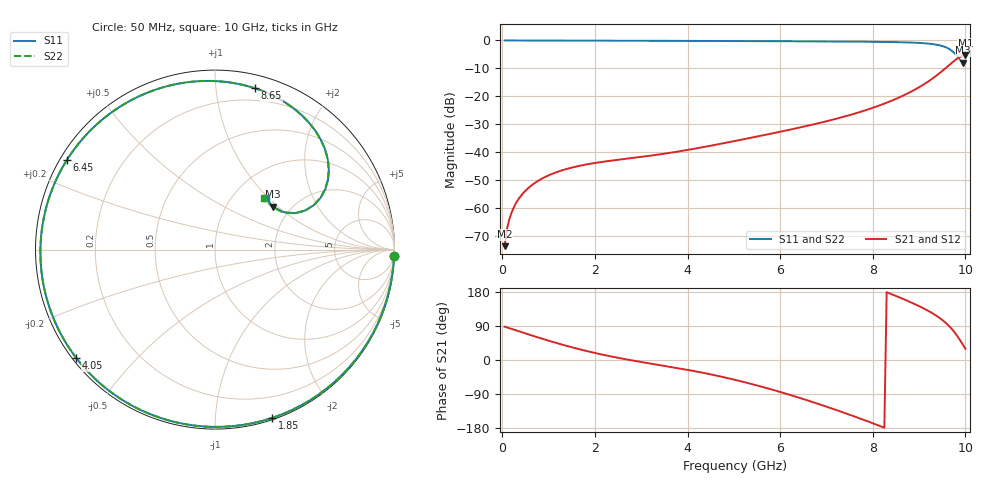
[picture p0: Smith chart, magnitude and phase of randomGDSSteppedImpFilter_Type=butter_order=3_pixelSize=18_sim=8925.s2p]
! freq	dB(S11)	phase(S11)	dB(S12)	phase(S12)
!  dB(S21)	phase(S21)	dB(S22)	phase(S22)
!S-par simulation data
#  GHz  S  DB  R 50
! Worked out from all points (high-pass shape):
!   200 points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, 50 MHz to 10 GHz, reference 50 ohm
!   highest |S21| = -5.34 dB at 10 GHz (marker M1); lowest = -73.5 dB at 50 MHz (marker M2)
!   |S21| within 3 dB of the highest: 9.683 GHz to end of sweep
!   lowest |S11| = -7.9 dB at 9.95 GHz (marker M3), VSWR 2.35, Z = 81.4 + j46.4 ohm
!   |S11| at or under -10 dB: nowhere
!   |S22| runs from -8.0 to 0.0 dB; largest |S21 - S12| = 0
!   S11 on the Smith chart (normalised r, x): 50 MHz: 2, -55; 1.85 GHz: 0.01, -1.40; 4.05 GHz: 0.01, -0.34; 6.45 GHz: 0.02, +0.28; 8.65 GHz: 0.10, +1.27; 10 GHz: 1.40, +0.96
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0.05  -0.01 -2.1  -73.51 88.0  -73.51 88.0  -0.01 -2.1
0.1  -0.02 -4.1  -67.50 86.0  -67.50 86.0  -0.02 -4.1
0.2  -0.02 -8.1  -61.51 82.0  -61.51 82.0  -0.02 -8.1
0.5  -0.03 -20.0  -53.71 70.1  -53.71 70.1  -0.03 -20.0
1  -0.05 -39.6  -48.21 51.0  -48.21 51.0  -0.05 -39.6
1.75  -0.08 -67.6  -44.52 25.8  -44.52 25.8  -0.08 -67.6
1.85  -0.09 -71.2  -44.21 22.8  -44.21 22.8  -0.09 -71.2
2.6  -0.11 -97.0  -42.43 3.4  -42.43 3.4  -0.11 -97.0
3.4  -0.14 -122.5  -40.71 -13.4  -40.71 -13.4  -0.14 -122.4
4.05  -0.17 -142.0  -38.98 -27.1  -38.98 -27.1  -0.17 -141.9
5.05  -0.22 -170.8  -35.85 -53.1  -35.85 -53.1  -0.22 -170.7
5.75  -0.26 169.2  -33.50 -75.5  -33.50 -75.5  -0.26 169.3
6.45  -0.32 148.8  -31.02 -101.1  -31.02 -101.1  -0.31 148.9
6.7  -0.34 141.3  -30.08 -110.9  -30.08 -110.9  -0.34 141.4
7.6  -0.43 113.1  -26.20 -148.8  -26.20 -148.8  -0.43 113.2
8.35  -0.57 87.3  -21.92 176.4  -21.92 176.4  -0.57 87.5
8.65  -0.67 76.1  -19.76 161.4  -19.76 161.4  -0.67 76.3
9.1  -0.99 57.5  -15.73 136.0  -15.73 136.0  -0.99 57.7
9.5  -1.99 37.4  -10.93 105.7  -10.93 105.7  -2.00 37.5
9.8  -5.21 23.4  -6.77 67.5  -6.77 67.5  -5.24 23.4
9.95  -7.91 36.5  -5.46 39.6  -5.46 39.6  -8.02 36.7
10  -7.88 45.7  -5.34 29.5  -5.34 29.5  -7.99 46.3
